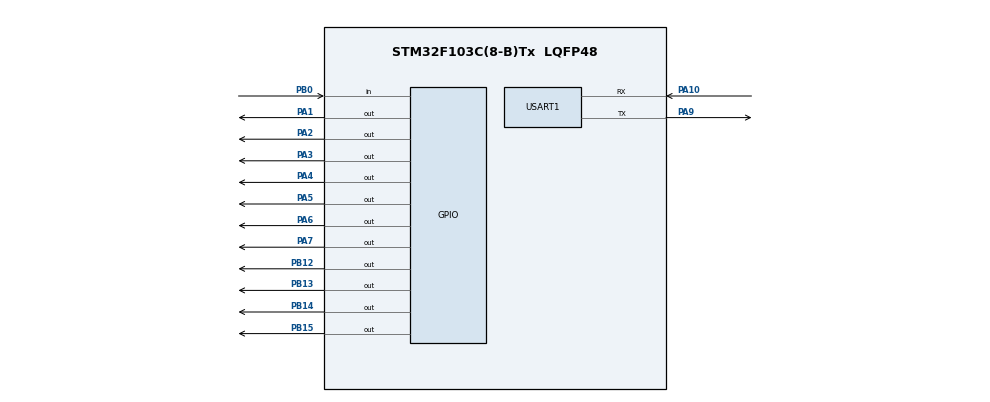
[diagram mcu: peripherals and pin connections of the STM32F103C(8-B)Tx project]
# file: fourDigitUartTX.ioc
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Mcu.Family=STM32F1
Mcu.Name=STM32F103C(8-B)Tx
Mcu.Package=LQFP48
NVIC.PriorityGroup=NVIC_PRIORITYGROUP_4
NVIC.USART1_IRQn=true\:0\:0\:false\:false\:true\:true\:true\:true
PA1.Signal=GPIO_Output
PA10.Mode=Asynchronous
PA10.Signal=USART1_RX
PA2.Signal=GPIO_Output
PA3.Signal=GPIO_Output
PA4.Signal=GPIO_Output
PA5.Signal=GPIO_Output
PA6.Signal=GPIO_Output
PA7.Signal=GPIO_Output
PA9.Mode=Asynchronous
PA9.Signal=USART1_TX
PB0.Signal=GPIO_Input
PB12.Signal=GPIO_Output
PB13.Signal=GPIO_Output
PB14.Signal=GPIO_Output
PB15.Signal=GPIO_Output
ProjectManager.HeapSize=0x200
ProjectManager.StackSize=0x400
ProjectManager.TargetToolchain=STM32CubeIDE
RCC.APB1Freq_Value=8000000
RCC.APB2Freq_Value=8000000
USART1.VirtualMode=VM_ASYNC
board=custom

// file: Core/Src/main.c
/* USER CODE BEGIN Header */
/**
 ******************************************************************************
 * @file           : main.c
 * @brief          : Main program body
 ******************************************************************************
 * @attention
 *
 * Copyright (c) 2024 STMicroelectronics.
 * All rights reserved.
 *
 * This software is licensed under terms that can be found in the LICENSE file
 * in the root directory of this software component.
 * If no LICENSE file comes with this software, it is provided AS-IS.
 *
 ******************************************************************************
 */
/* USER CODE END Header */
#include "main.h"
#include <stdio.h>
#include <string.h>

UART_HandleTypeDef huart1;

void SystemClock_Config(void);
static void MX_GPIO_Init(void);
static void MX_USART1_UART_Init(void);

int main(void) {

	/* MCU Configuration--------------------------------------------------------*/

	/* Reset of all peripherals, Initializes the Flash interface and the Systick. */
	HAL_Init();

	/* Configure the system clock */
	SystemClock_Config();

	/* Initialize all configured peripherals */
	MX_GPIO_Init();
	MX_USART1_UART_Init();

	/* Infinite loop */
	/* USER CODE BEGIN WHILE */

	// when you give any index of an array to digitaWrite you can change many pin with one digitalWrite.
	int segment[] = { 0b01111110, 0b00001100, 0b10110110, 0b10011110,
			0b11001100, 0b11011010, 0b11111010, 0b00001110, 0b11111110,
			0b11011110 };
	// The value of 4 digits of seven segment
	int digit[4] = { 0 };
	// every time that button pushed this variable increases
	int buttonInc = 0;
	// This variable take the buttonInc value and white a help of while loop divide it into 4 digit
	int dividToFourDigit = 0;
	int i = 0;
	int j = 0;
	char buffer[20];
	memset(buffer, 0, sizeof(buffer));
	uint16_t Select = GPIO_PIN_12;
	while (1) {
		HAL_UART_Transmit(&huart1, (uint8_t*) buffer,
				sprintf(buffer, "The Number is: %d\n", buttonInc), 500);

		if (buttonInc > 9999) {
			buttonInc = 0;
			memset(digit, 0, sizeof(digit));
		}

		if (HAL_GPIO_ReadPin(GPIOB, GPIO_PIN_0) == 1) {
			HAL_Delay(300);
			buttonInc++;
			dividToFourDigit = buttonInc;

			Select = 0x1000;
			i = 0;
			j = 0;
		}
		// This while take the full number and divide it to four digit in digit[i] array.
		// At the end dividToFourDigit value will be zero.
		while (dividToFourDigit > 0) {
			digit[i] = dividToFourDigit % 10;
			dividToFourDigit = dividToFourDigit / 10;
			i++;
		}
		HAL_Delay(3);
		MX_GPIO_Init();
		HAL_GPIO_WritePin(GPIOB, Select, 1);
		HAL_GPIO_WritePin(GPIOA, segment[digit[j]], 1);
		j++;
		if (j > 3)
			j = 0;
		if (Select == 0x8000) {
			Select = 0x1000;
			continue;
		}
		// Toggle between select pin of four digit seven segment
		Select = Select << 1;

	}
	/* USER CODE END WHILE */

}

void SystemClock_Config(void) {
	RCC_OscInitTypeDef RCC_OscInitStruct = { 0 };
	RCC_ClkInitTypeDef RCC_ClkInitStruct = { 0 };

	/** Initializes the RCC Oscillators according to the specified parameters
	 * in the RCC_OscInitTypeDef structure.
	 */
	RCC_OscInitStruct.OscillatorType = RCC_OSCILLATORTYPE_HSI;
	RCC_OscInitStruct.HSIState = RCC_HSI_ON;
	RCC_OscInitStruct.HSICalibrationValue = RCC_HSICALIBRATION_DEFAULT;
	RCC_OscInitStruct.PLL.PLLState = RCC_PLL_NONE;
	if (HAL_RCC_OscConfig(&RCC_OscInitStruct) != HAL_OK) {
		Error_Handler();
	}

	/** Initializes the CPU, AHB and APB buses clocks
	 */
	RCC_ClkInitStruct.ClockType = RCC_CLOCKTYPE_HCLK | RCC_CLOCKTYPE_SYSCLK
			| RCC_CLOCKTYPE_PCLK1 | RCC_CLOCKTYPE_PCLK2;
	RCC_ClkInitStruct.SYSCLKSource = RCC_SYSCLKSOURCE_HSI;
	RCC_ClkInitStruct.AHBCLKDivider = RCC_SYSCLK_DIV1;
	RCC_ClkInitStruct.APB1CLKDivider = RCC_HCLK_DIV1;
	RCC_ClkInitStruct.APB2CLKDivider = RCC_HCLK_DIV1;

	if (HAL_RCC_ClockConfig(&RCC_ClkInitStruct, FLASH_LATENCY_0) != HAL_OK) {
		Error_Handler();
	}
}

static void MX_USART1_UART_Init(void) {

	huart1.Instance = USART1;
	huart1.Init.BaudRate = 115200;
	huart1.Init.WordLength = UART_WORDLENGTH_8B;
	huart1.Init.StopBits = UART_STOPBITS_1;
	huart1.Init.Parity = UART_PARITY_NONE;
	huart1.Init.Mode = UART_MODE_TX_RX;
	huart1.Init.HwFlowCtl = UART_HWCONTROL_NONE;
	huart1.Init.OverSampling = UART_OVERSAMPLING_16;
	if (HAL_UART_Init(&huart1) != HAL_OK) {
		Error_Handler();
	}

}

static void MX_GPIO_Init(void) {
	GPIO_InitTypeDef GPIO_InitStruct = { 0 };

	/* GPIO Ports Clock Enable */
	__HAL_RCC_GPIOA_CLK_ENABLE();
	__HAL_RCC_GPIOB_CLK_ENABLE();

	/*Configure GPIO pin Output Level */
	HAL_GPIO_WritePin(GPIOA,
			GPIO_PIN_1 | GPIO_PIN_2 | GPIO_PIN_3 | GPIO_PIN_4 | GPIO_PIN_5
					| GPIO_PIN_6 | GPIO_PIN_7, GPIO_PIN_RESET);

	/*Configure GPIO pin Output Level */
	HAL_GPIO_WritePin(GPIOB,
	GPIO_PIN_12 | GPIO_PIN_13 | GPIO_PIN_14 | GPIO_PIN_15, GPIO_PIN_RESET);

	/*Configure GPIO pins : PA1 PA2 PA3 PA4
	 PA5 PA6 PA7 */
	GPIO_InitStruct.Pin = GPIO_PIN_1 | GPIO_PIN_2 | GPIO_PIN_3 | GPIO_PIN_4
			| GPIO_PIN_5 | GPIO_PIN_6 | GPIO_PIN_7;
	GPIO_InitStruct.Mode = GPIO_MODE_OUTPUT_PP;
	GPIO_InitStruct.Pull = GPIO_NOPULL;
	GPIO_InitStruct.Speed = GPIO_SPEED_FREQ_LOW;
	HAL_GPIO_Init(GPIOA, &GPIO_InitStruct);

	/*Configure GPIO pin : PB0 */
	GPIO_InitStruct.Pin = GPIO_PIN_0;
	GPIO_InitStruct.Mode = GPIO_MODE_INPUT;
	GPIO_InitStruct.Pull = GPIO_NOPULL;
	HAL_GPIO_Init(GPIOB, &GPIO_InitStruct);

	/*Configure GPIO pins : PB12 PB13 PB14 PB15 */
	GPIO_InitStruct.Pin = GPIO_PIN_12 | GPIO_PIN_13 | GPIO_PIN_14 | GPIO_PIN_15;
	GPIO_InitStruct.Mode = GPIO_MODE_OUTPUT_PP;
	GPIO_InitStruct.Pull = GPIO_NOPULL;
	GPIO_InitStruct.Speed = GPIO_SPEED_FREQ_LOW;
	HAL_GPIO_Init(GPIOB, &GPIO_InitStruct);

}

void Error_Handler(void) {
	__disable_irq();
	while (1) {
	}
}
